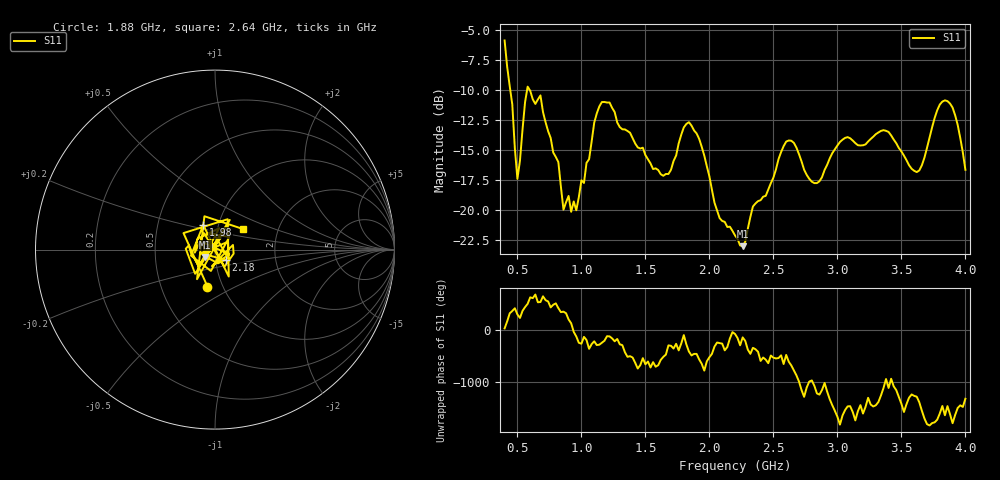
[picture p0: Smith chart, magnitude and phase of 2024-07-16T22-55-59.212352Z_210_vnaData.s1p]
!Created with skrf (http://scikit-rf.org).
# Hz S RI R 50.0
!freq ReS11 ImS11
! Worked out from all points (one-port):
!   181 points, 400 MHz to 4 GHz, reference 50 ohm
!   lowest |S11| = -23.0 dB at 2.26 GHz (marker M1), VSWR 1.15, Z = 44.4 - j3.65 ohm
!   |S11| at or under -10 dB: 444.4 MHz to 575.3 MHz (130.9 MHz wide, 25.7 % of centre); 597.3 MHz to end of sweep
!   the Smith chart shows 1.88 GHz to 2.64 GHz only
!   S11 on the Smith chart (normalised r, x): 1.88 GHz: 0.84, -0.37; 1.98 GHz: 0.85, +0.24; 2.18 GHz: 1.12, -0.13; 2.64 GHz: 1.33, +0.32
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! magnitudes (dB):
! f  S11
! 400 MHz  -5.8
! 460 MHz  -11.2
! 500 MHz  -17.4
! 580 MHz  -9.7
! 680 MHz  -10.4
! 820 MHz  -16.0
! 860 MHz  -20.0
! 960 MHz  -20.0
! 1.16 GHz  -11.0
! 1.3 GHz  -13.1
! 1.64 GHz  -17.2
! 1.76 GHz  -14.4
! 1.88 GHz  -13.4
! 1.98 GHz  -16.4
! 2.08 GHz  -20.7
! 2.18 GHz  -21.7
! 2.2 GHz  -22.1
! 2.26 GHz  -23.0
! 2.64 GHz  -14.2
! 2.66 GHz  -14.4
! 2.84 GHz  -17.8
! 3.1 GHz  -14.0
! 3.4 GHz  -13.5
! 3.56 GHz  -16.3
! 3.64 GHz  -16.7
! 3.84 GHz  -10.8
! 3.92 GHz  -12.1
! 4 GHz  -16.7
